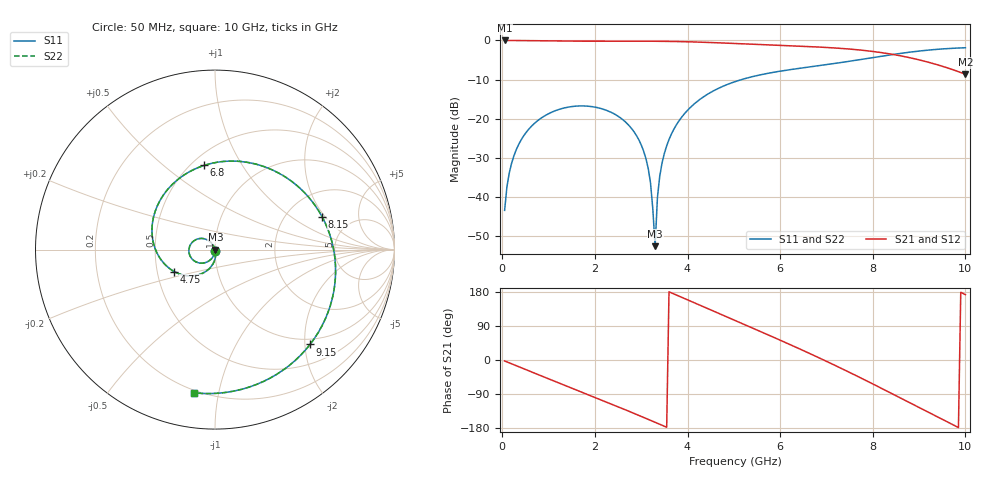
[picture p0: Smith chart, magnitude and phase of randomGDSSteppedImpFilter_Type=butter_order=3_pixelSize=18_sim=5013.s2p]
! freq	dB(S11)	phase(S11)	dB(S12)	phase(S12)
!  dB(S21)	phase(S21)	dB(S22)	phase(S22)
!S-par simulation data
#  GHz  S  DB  R 50
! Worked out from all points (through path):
!   200 points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, 50 MHz to 10 GHz, reference 50 ohm
!   highest |S21| = 0.00 dB at 50 MHz (marker M1); lowest = -8.6 dB at 10 GHz (marker M2)
!   group delay of S21, straight-line fit = 151 ps
!   lowest |S11| = -52.6 dB at 3.3 GHz (marker M3), VSWR 1.00, Z = 50.2 - j0.0921 ohm
!   |S11| at or under -10 dB: start of sweep to 5.166 GHz
!   |S22| runs from -52.4 to -1.9 dB; largest |S21 - S12| = 0
!   S11 on the Smith chart (normalised r, x): 50 MHz: 1.00, -0.01; 4.75 GHz: 0.61, -0.16; 6.8 GHz: 0.58, +0.70; 8.15 GHz: 3.10, +1.87; 9.15 GHz: 0.88, -2.11; 10 GHz: 0.19, -0.85
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0.05  -43.41 -92.1  -0.00 -2.5  -0.00 -2.5  -43.41 -92.1
0.2  -31.42 -100.0  -0.01 -10.0  -0.01 -10.0  -31.42 -100.0
0.5  -23.73 -115.3  -0.04 -25.0  -0.04 -25.0  -23.73 -115.3
1.75  -16.73 -177.3  -0.19 -86.3  -0.19 -86.3  -16.73 -177.3
2.45  -18.99 148.0  -0.19 -120.9  -0.19 -120.9  -18.99 148.0
2.95  -25.42 122.6  -0.19 -146.3  -0.19 -146.3  -25.42 122.4
3.2  -36.31 109.0  -0.19 -159.2  -0.19 -159.2  -36.31 108.2
3.3  -52.56 -22.9  -0.20 -164.4  -0.20 -164.4  -52.43 -21.1
3.35  -40.16 -76.3  -0.21 -167.0  -0.21 -167.0  -40.15 -74.9
3.4  -34.67 -79.7  -0.21 -169.6  -0.21 -169.6  -34.67 -78.9
3.55  -26.91 -88.0  -0.23 -177.5  -0.23 -177.5  -26.91 -87.6
3.8  -20.82 -101.2  -0.28 169.4  -0.28 169.4  -20.82 -101.1
4.75  -11.79 -151.6  -0.64 119.0  -0.64 119.0  -11.79 -151.4
5.05  -10.43 -167.4  -0.79 103.1  -0.79 103.1  -10.43 -167.3
5.8  -8.26 152.6  -1.15 63.1  -1.15 63.1  -8.26 152.7
6.7  -6.66 103.0  -1.61 13.7  -1.61 13.7  -6.66 103.1
6.8  -6.50 97.3  -1.66 8.0  -1.66 8.0  -6.50 97.4
7.4  -5.49 62.5  -2.10 -26.8  -2.10 -26.8  -5.49 62.6
8.15  -4.10 17.2  -3.04 -72.4  -3.04 -72.4  -4.10 17.3
8.35  -3.73 4.8  -3.40 -84.8  -3.40 -84.8  -3.73 4.9
9.15  -2.52 -44.9  -5.40 -134.8  -5.40 -134.8  -2.52 -44.8
10  -1.87 -98.2  -8.64 172.4  -8.64 172.4  -1.87 -98.2
